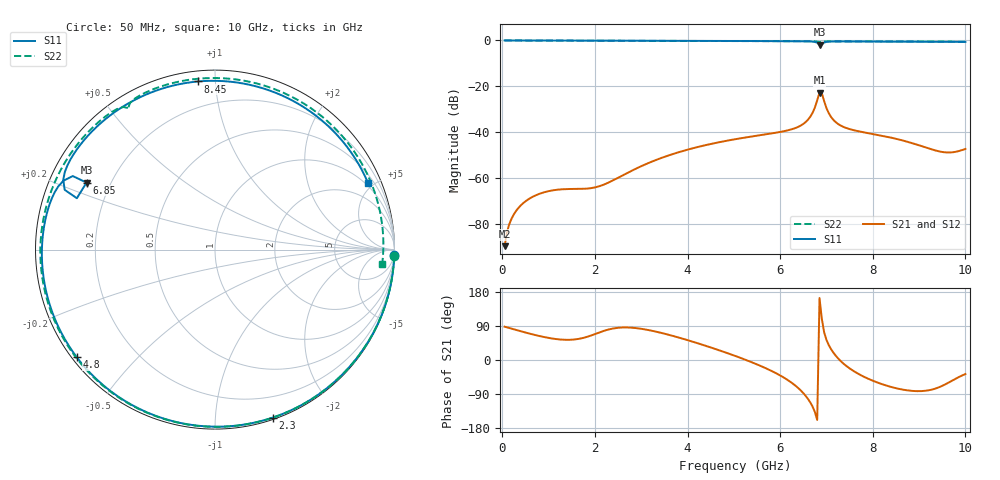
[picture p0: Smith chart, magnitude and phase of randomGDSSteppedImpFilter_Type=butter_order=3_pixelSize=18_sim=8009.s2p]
! freq	dB(S11)	phase(S11)	dB(S12)	phase(S12)
!  dB(S21)	phase(S21)	dB(S22)	phase(S22)
!S-par simulation data
#  GHz  S  DB  R 50
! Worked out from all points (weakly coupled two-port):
!   200 points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, 50 MHz to 10 GHz, reference 50 ohm
!   highest |S21| = -22.65 dB at 6.85 GHz (marker M1); lowest = -89.4 dB at 50 MHz (marker M2)
!   lowest |S11| = -1.9 dB at 6.85 GHz (marker M3), VSWR 9.37, Z = 5.65 + j12.1 ohm
!   |S11| at or under -10 dB: nowhere
!   |S22| runs from -0.7 to 0.0 dB; largest |S21 - S12| = 0
!   S11 on the Smith chart (normalised r, x): 50 MHz: 1, -71; 2.3 GHz: 0.02, -1.40; 4.8 GHz: 0.01, -0.34; 6.85 GHz: 0.11, +0.24; 8.45 GHz: 0.05, +0.90; 10 GHz: 0.84, +4.64
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0.05  -0.00 -1.6  -89.44 87.9  -89.44 87.9  -0.01 -2.1
0.15  -0.01 -4.8  -79.94 84.5  -79.94 84.5  -0.01 -6.1
0.35  -0.01 -11.2  -72.78 77.5  -72.78 77.5  -0.02 -14.2
0.7  -0.03 -22.2  -67.53 66.2  -67.53 66.2  -0.03 -28.3
1.75  -0.07 -54.7  -64.52 58.3  -64.52 58.3  -0.08 -68.8
2.3  -0.09 -71.1  -61.73 80.7  -61.73 80.7  -0.11 -88.6
3.4  -0.13 -102.8  -51.35 72.5  -51.35 72.5  -0.15 -125.8
4.8  -0.21 -142.1  -43.78 20.8  -43.78 20.8  -0.22 -170.3
5.05  -0.23 -149.2  -42.86 9.8  -42.86 9.8  -0.23 -178.1
6.3  -0.34 173.1  -38.29 -64.8  -38.29 -64.8  -0.31 141.1
6.55  -0.40 164.4  -35.49 -94.6  -35.49 -94.6  -0.33 132.4
6.7  -0.52 158.1  -31.46 -122.9  -31.46 -122.9  -0.37 126.8
6.85  -1.86 152.5  -22.65 163.5  -22.65 163.5  -0.70 121.4
6.9  -1.71 159.6  -22.93 108.8  -22.93 108.8  -0.69 121.7
7.05  -0.52 152.6  -31.64 39.2  -31.64 39.2  -0.40 116.1
7.25  -0.44 144.0  -36.30 4.4  -36.30 4.4  -0.38 108.4
7.8  -0.47 122.6  -39.92 -43.7  -39.92 -43.7  -0.39 87.6
8.35  -0.52 100.0  -42.06 -69.5  -42.06 -69.5  -0.42 66.0
8.45  -0.52 95.7  -42.51 -72.9  -42.51 -72.9  -0.42 61.9
9.2  -0.58 61.8  -46.91 -80.1  -46.91 -80.1  -0.46 30.8
9.6  -0.60 42.8  -48.70 -62.1  -48.70 -62.1  -0.51 13.4
10  -0.63 23.6  -47.16 -37.1  -47.16 -37.1  -0.58 -4.8
